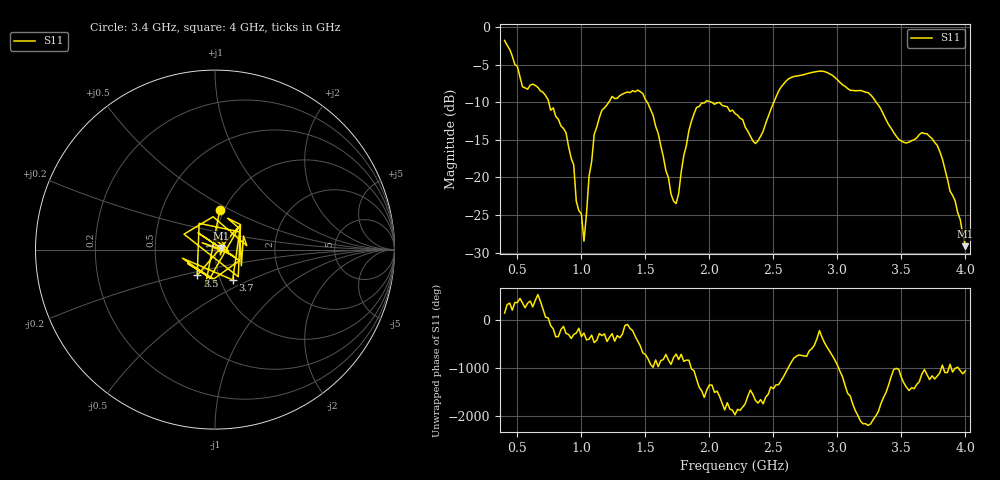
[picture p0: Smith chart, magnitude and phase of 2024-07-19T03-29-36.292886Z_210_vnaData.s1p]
!Created with skrf (http://scikit-rf.org).
# Hz S RI R 50.0
!freq ReS11 ImS11
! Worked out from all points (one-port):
!   181 points, 400 MHz to 4 GHz, reference 50 ohm
!   lowest |S11| = -29.1 dB at 4 GHz (marker M1), VSWR 1.07, Z = 53.5 + j1.03 ohm
!   |S11| at or under -10 dB: 744.7 MHz to 1.213 GHz (468.5 MHz wide, 47.9 % of centre); 2.019 GHz to 2.503 GHz (484 MHz wide, 21.4 % of centre); 3.303 GHz to end of sweep (the widest 3 of 4)
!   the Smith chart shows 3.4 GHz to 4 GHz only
!   S11 on the Smith chart (normalised r, x): 3.4 GHz: 0.95, +0.45; 3.5 GHz: 0.79, -0.23; 3.7 GHz: 1.14, -0.40; 4 GHz: 1.07, +0.02
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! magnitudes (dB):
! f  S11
! 400 MHz  -1.8
! 540 MHz  -7.9
! 700 MHz  -8.7
! 860 MHz  -13.5
! 940 MHz  -18.3
! 960 MHz  -23.2
! 1 GHz  -24.9
! 1.02 GHz  -28.5
! 1.1 GHz  -14.3
! 1.16 GHz  -11.0
! 1.3 GHz  -9.1
! 1.48 GHz  -8.8
! 1.6 GHz  -14.1
! 1.7 GHz  -22.2
! 1.76 GHz  -22.1
! 1.84 GHz  -13.7
! 1.9 GHz  -10.7
! 2.2 GHz  -11.5
! 2.36 GHz  -15.5
! 2.66 GHz  -6.6
! 3.1 GHz  -8.4
! 3.26 GHz  -9.0
! 3.4 GHz  -13.0
! 3.5 GHz  -15.2
! 3.56 GHz  -15.3
! 3.7 GHz  -14.2
! 3.82 GHz  -17.5
! 4 GHz  -29.1
